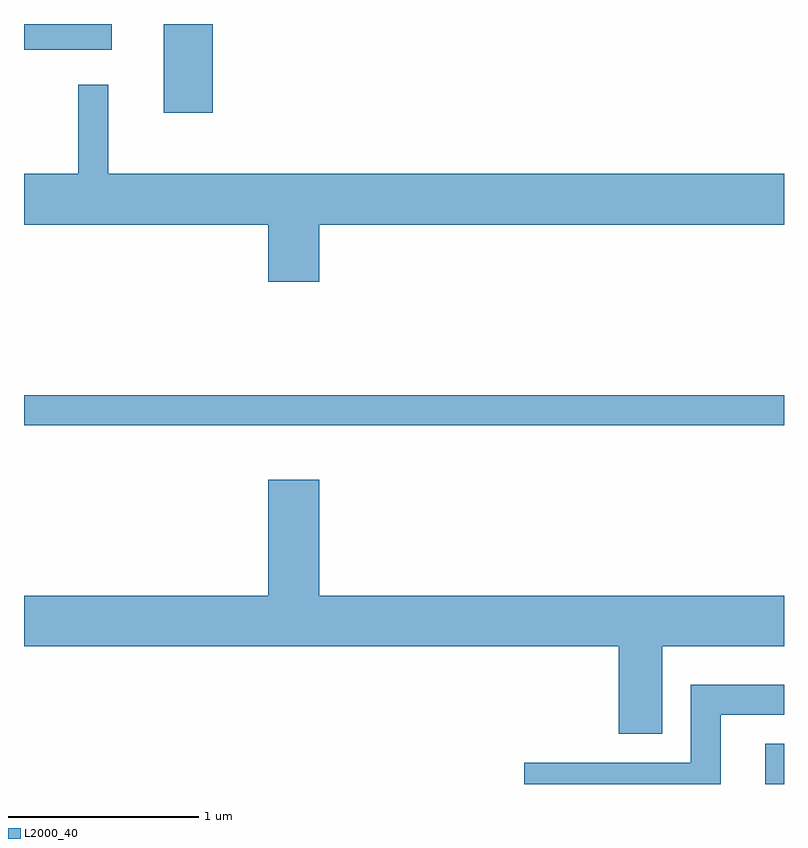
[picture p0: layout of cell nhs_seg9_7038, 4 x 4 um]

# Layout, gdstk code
import gdstk
lib = gdstk.Library(unit=1e-6, precision=1e-09)
def R(c, l, rs):  # rectangles x0, y0, x1, y1
    for r in rs: c.add(gdstk.rectangle(r[:2], r[2:], *l))
def P(c, l, *ps):  # polygons
    for p in ps: c.add(gdstk.Polygon(p, *l))
L2000_40 = (2000, 40)

nhs_seg9_7038 = lib.new_cell('nhs_seg9_7038')
R(nhs_seg9_7038, L2000_40, [(397.511,1984.432,397.611,1984.644), (393.611,1986.321,397.611,1986.479), (394.346,1987.966,394.604,1988.432), (393.611,1988.296,394.074,1988.432)])
P(nhs_seg9_7038, L2000_40, [(395.164,1987.376),(397.611,1987.376),(397.611,1987.644),(394.054,1987.644),(394.054,1988.113),(393.896,1988.113),(393.896,1987.644),(393.611,1987.644),(393.611,1987.376),(394.896,1987.376),(394.896,1987.076),(395.164,1987.076)],
  [(396.969,1985.156),(397.611,1985.156),(397.611,1985.424),(395.164,1985.424),(395.164,1986.034),(394.896,1986.034),(394.896,1985.424),(393.611,1985.424),(393.611,1985.156),(396.741,1985.156),(396.741,1984.696),(396.969,1984.696)],
  [(397.279,1984.796),(397.611,1984.796),(397.611,1984.954),(397.121,1984.954),(397.121,1984.544),(396.243,1984.544),(396.243,1984.432),(397.279,1984.432)])

lib.write_gds('nhs_seg9_7038.gds')
